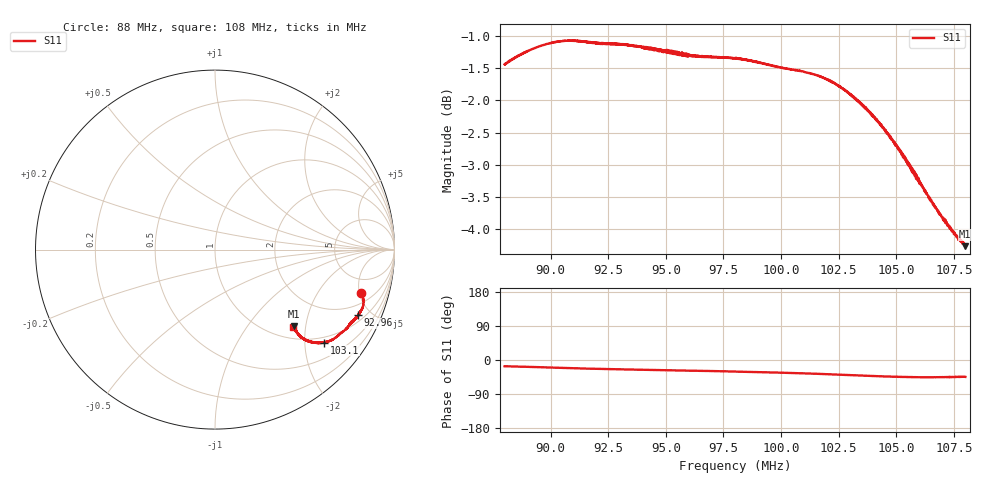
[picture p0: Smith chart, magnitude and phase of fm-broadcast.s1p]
! Calibrated averaged scanner-service zoom
# Hz S RI R 50
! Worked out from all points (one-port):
!   2001 points, 88 MHz to 108 MHz, reference 50 ohm
!   lowest |S11| = -4.3 dB at 108 MHz (marker M1), VSWR 4.16, Z = 62.8 - j85.8 ohm
!   |S11| at or under -10 dB: nowhere
!   S11 on the Smith chart (normalised r, x): 88 MHz: 3.03, -5.17; 92.96 MHz: 1.33, -4.19; 103.1 MHz: 0.86, -2.46; 108 MHz: 1.25, -1.71
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8.8e7  0.8123 -0.2405
8.868e7  0.8219 -0.2601
8.927e7  0.8263 -0.2771
8.989e7  0.8277 -0.2959
9.05e7  0.8255 -0.3132
9.141e7  0.8157 -0.3369
9.296e7  0.7977 -0.3648
9.3e7  0.7982 -0.3655
9.439e7  0.7817 -0.3874
9.55e7  0.7642 -0.4016
9.68e7  0.7514 -0.4143
9.8e7  0.7377 -0.4347
1.005e8  0.6936 -0.472
1.0096e8  0.6845 -0.4807
1.0171e8  0.6642 -0.4962
1.0239e8  0.6407 -0.5084
1.03e8  0.6149 -0.5155
1.0314e8  0.6095 -0.5181
1.0376e8  0.5812 -0.5206
1.0435e8  0.5557 -0.5197
1.0492e8  0.5282 -0.5143
1.055e8  0.5048 -0.5023
1.06e8  0.4807 -0.4874
1.0668e8  0.461 -0.4685
1.0722e8  0.4481 -0.4498
1.0773e8  0.4455 -0.4336
1.0798e8  0.4385 -0.427
1.08e8  0.4369 -0.4292
